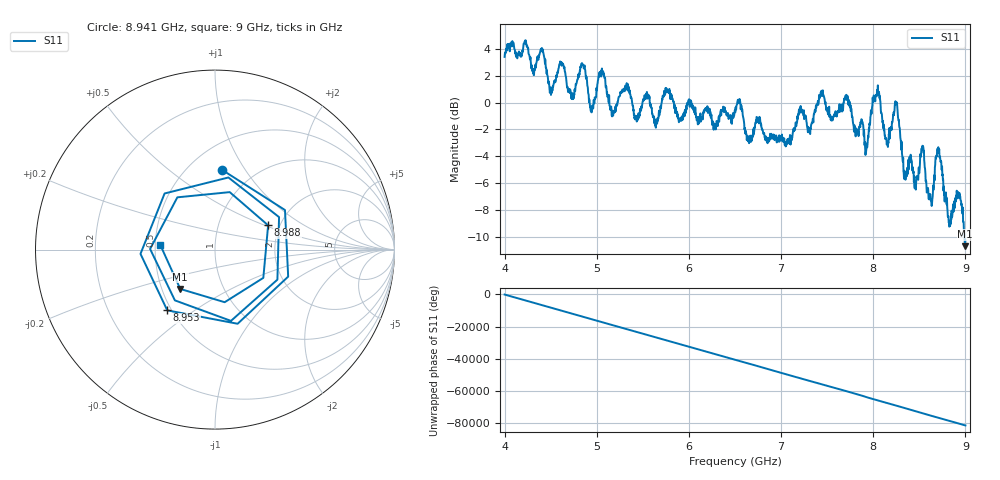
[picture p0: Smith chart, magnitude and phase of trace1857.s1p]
! Created with skrf 1.8.0 (http://scikit-rf.org).
# Hz S RI R 50.0
!freq ReS11 ImS11
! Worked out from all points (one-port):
!   1601 points, 4 GHz to 9 GHz, reference 50 ohm
!   lowest |S11| = -10.7 dB at 8.997 GHz (marker M1), VSWR 1.83, Z = 31.1 - j14.9 ohm
!   |S11| at or under -10 dB: 8.990027 GHz to end of sweep
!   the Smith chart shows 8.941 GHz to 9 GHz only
!   S11 on the Smith chart (normalised r, x): 8.941 GHz: 0.72, +0.79; 8.953 GHz: 0.47, -0.39; 8.988 GHz: 1.74, +0.53; 9 GHz: 0.53, +0.03
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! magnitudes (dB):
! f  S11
! 4 GHz  3.4
! 4.406 GHz  4.0
! 4.509 GHz  0.7
! 4.625 GHz  2.9
! 4.731 GHz  0.3
! 4.853 GHz  2.8
! 4.941 GHz  -0.4
! 5.053 GHz  2.3
! 5.25 GHz  0.5
! 5.875 GHz  -1.1
! 6.5 GHz  -0.5
! 7.125 GHz  -2.4
! 7.438 GHz  0.9
! 7.75 GHz  -0.4
! 7.922 GHz  -3.7
! 8.031 GHz  0.6
! 8.147 GHz  -3.1
! 8.247 GHz  -0.1
! 8.375 GHz  -5.3
! 8.534 GHz  -3.2
! 8.622 GHz  -7.3
! 8.703 GHz  -3.7
! 8.828 GHz  -9.2
! 8.941 GHz  -7.0
! 8.953 GHz  -7.3
! 8.988 GHz  -9.8
! 8.997 GHz  -10.7
! 9 GHz  -10.3
